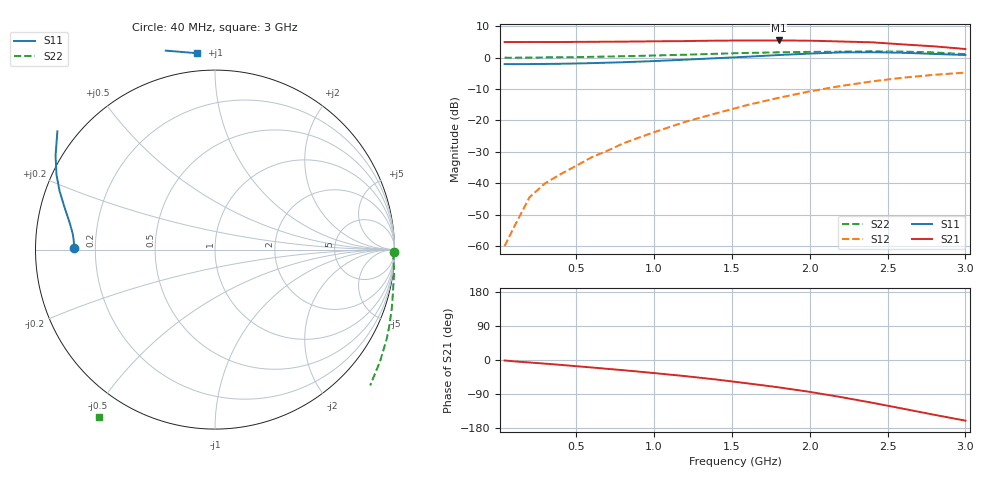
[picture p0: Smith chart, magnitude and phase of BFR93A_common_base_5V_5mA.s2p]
! Filename:  BFR93ACA.S2P  Version:  2.0
! Philips part #: BFR93A  Date: Jul 1990
! Bias condition: Vce=5V, Ic=5mA
! COMMON BASE
#  MHz  S  MA  R  50
! Freq  S11  S21  S12  S22
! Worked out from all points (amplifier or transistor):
!   21 points, 40 MHz to 3 GHz, reference 50 ohm
!   highest |S21| = 5.4 dB at 1.8 GHz (marker M1)
!   |S21| within 3 dB of that: start of sweep to end of sweep
!   unconditionally stable (mu >= 1): start of sweep to 44.6 MHz
!   at 300 MHz: K = -0.48, MSG = 22.5 dB, |S12| = -40.0 dB
!   at 1 GHz: K = -0.89, MSG = 14.5 dB, |S12| = -23.7 dB
!   at 3 GHz: K = -0.43, MSG = 3.8 dB, |S12| = -4.8 dB
40  0.788 179.4  1.768 -1.2  0.001 73.1  0.996 -0.9
100  0.786 178.2  1.767 -3.5  0.002 91.5  0.995 -2.7
200  0.788 176.7  1.77 -6.6  0.006 102.8  1 -5.0
300  0.792 175.2  1.768 -9.6  0.01 112.7  1.007 -7.6
400  0.797 173.8  1.768 -12.9  0.014 121.7  1.011 -10.3
500  0.806 172.2  1.776 -16.3  0.019 127.0  1.018 -13.0
600  0.816 170.6  1.782 -19.7  0.026 129.7  1.027 -15.7
700  0.829 168.8  1.79 -23.3  0.033 132.8  1.039 -18.6
800  0.843 167.2  1.794 -26.8  0.043 134.7  1.05 -21.5
900  0.861 165.3  1.801 -30.6  0.053 136.8  1.063 -24.3
1000  0.88 163.4  1.813 -34.5  0.065 137.2  1.078 -27.4
1200  0.926 159.3  1.83 -42.5  0.095 137.4  1.11 -34.0
1400  0.977 154.7  1.861 -51.5  0.13 135.4  1.149 -41.2
1600  1.032 149.4  1.868 -61.6  0.176 132.9  1.185 -49.0
1800  1.098 143.1  1.872 -72.1  0.229 128.3  1.212 -57.9
2000  1.157 136.4  1.858 -84.1  0.29 122.5  1.231 -68.0
2200  1.208 129.5  1.802 -97.8  0.353 115.9  1.241 -79.7
2400  1.217 121.5  1.749 -112.7  0.418 107.9  1.256 -91.9
2600  1.192 113.2  1.62 -128.5  0.479 99.8  1.245 -103.4
2800  1.142 103.9  1.508 -144.6  0.532 91.4  1.206 -114.4
3000  1.099 95.3  1.369 -160.0  0.577 84.5  1.134 -124.8
